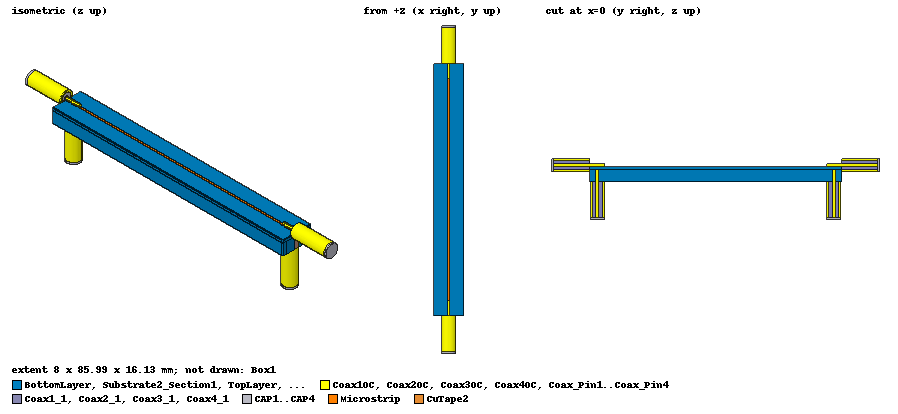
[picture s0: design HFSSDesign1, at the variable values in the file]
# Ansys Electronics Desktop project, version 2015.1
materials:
  vacuum: permittivity=1
  Teflon (tm): permittivity=2.1 dielectric_loss_tangent=0.001
  pec: conductivity=1e+30
  Rogers RT/duroid 5880 (tm): permittivity=2.2 dielectric_loss_tangent=0.0009
  copper: permeability=0.999991 conductivity=58000000
  PMLGroup1_Z_1: permittivity{anisotropic component1=23.722161 component2=23.722161 component3=0.10201431} permeability{anisotropic component1=10.782801 component2=10.782801 component3=0.046370142} dielectric_loss_tangent{anisotropic component1=1 component2=1 component3=-1} magnetic_loss_tangent{anisotropic component1=1 component2=1 component3=-1}
  PMLGroup2_Z_1: permittivity{anisotropic component1=5.9836856 component2=5.9836856 component3=0.08356054} permeability{anisotropic component1=5.9836856 component2=5.9836856 component3=0.08356054} dielectric_loss_tangent{anisotropic component1=1 component2=1 component3=-1} magnetic_loss_tangent{anisotropic component1=1 component2=1 component3=-1}
  PMLGroup2_XZ_1: permittivity{anisotropic component1=1 component2=0.01 component3=1} permeability{anisotropic component1=1 component2=0.01 component3=1} dielectric_loss_tangent{anisotropic component1=0 component2=7160.8987 component3=0} magnetic_loss_tangent{anisotropic component1=0 component2=7160.8987 component3=0}
  PMLGroup2_YZ_1: permittivity{anisotropic component1=0.01 component2=1 component3=1} permeability{anisotropic component1=0.01 component2=1 component3=1} dielectric_loss_tangent{anisotropic component1=7160.8987 component2=0 component3=0} magnetic_loss_tangent{anisotropic component1=7160.8987 component2=0 component3=0}
  PMLGroup2_XYZ_1: permittivity{anisotropic component1=5.9836856 component2=5.9836856 component3=5.9836856} permeability{anisotropic component1=5.9836856 component2=5.9836856 component3=5.9836856} dielectric_loss_tangent{anisotropic component1=1 component2=1 component3=1} magnetic_loss_tangent{anisotropic component1=1 component2=1 component3=1}
  PMLGroup3_Z_1: permittivity{anisotropic component1=23.722161 component2=23.722161 component3=0.10201431} permeability{anisotropic component1=10.782801 component2=10.782801 component3=0.046370142} dielectric_loss_tangent{anisotropic component1=1 component2=1 component3=-1} magnetic_loss_tangent{anisotropic component1=1 component2=1 component3=-1}

design HFSSDesign1 (HFSS, DrivenModal, model units mm)
options: Allow_Material_Override
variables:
  length = 9.52mm
  radius = (2.5447/2) mm
  pinradius = (.76/2) mm
  topthick = 0.787mm
  linelength = 29mm
  linelength2 = 71mm
  end = 39.945mm
  linelength3 = 1.55*lambda
  pinlength = length + 3.81mm
  bottomthick = -3.175mm
  bottom = 0 - topthick - pinradius + bottomthick
  msthick = 2mm
  lambda = 42.5516mm
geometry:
  Coax1 = cylinder(axis=Y, base_centre=(0mm, -linelength3/2 - length, 0mm), radius=radius, height=length)
  Coax_Pin1 [pec] = cylinder(axis=Y, base_centre=(0mm, -linelength3/2 - length, 0mm), radius=pinradius, height=pinlength)
  TopLayer [Rogers RT/duroid 5880 (tm)] = box(corner=(-4mm, -linelength3/2, -1*topthick - 1*pinradius), size=(8mm, linelength3, topthick))
  Substrate_Section2 [Rogers RT/duroid 5880 (tm)] = TopLayer.section(plane=YZ)
  Substrate_Section2.thicken(msthick/4, both sides)
  Microstrip [Rogers RT/duroid 5880 (tm)] = object_from(Substrate_Section2.face(at (0, 0, -0.38)))
  Coax2 = cylinder(axis=Y, base_centre=(0mm, linelength3/2, 0mm), radius=radius, height=length)
  Coax_Pin2 [pec] = cylinder(axis=Y, base_centre=(0mm, linelength3/2 - (pinlength - length), 0mm), radius=pinradius, height=pinlength)
  BottomLayer [Rogers RT/duroid 5880 (tm)] = box(corner=(-4mm, -linelength3/2, bottom), size=(8mm, linelength3, -bottomthick))
  GND [Rogers RT/duroid 5880 (tm)] = object_from(BottomLayer.face(-z))
  Substrate2_Section1 [Rogers RT/duroid 5880 (tm)] = BottomLayer.section(plane=YZ)
  Substrate2_Section1.thicken(6mm, both sides)
  Circle1 = circle(normal=Z, centre=(0, -linelength3/2 + 2, 0 - topthick - pinradius + bottomthick), radius=radius)
  Coax3 = cylinder(axis=Z, base_centre=(0mm, -linelength3/2 + 2mm, 0 - topthick - pinradius + bottomthick - length), radius=radius, height=length)
  Coax_Pin3 [pec] = cylinder(axis=Z, base_centre=(0mm, -linelength3/2 + 2mm, 0 - pinradius - topthick), radius=pinradius, height=-length + bottomthick)
  Circle2 = circle(normal=Z, centre=(0mm, linelength3/2 - 2, 0 - topthick - pinradius + bottomthick), radius=radius)
  Coax4 = cylinder(axis=Z, base_centre=(0mm, linelength3/2 - 2mm, 0 - topthick - pinradius + bottomthick - length), radius=radius, height=length)
  Coax_Pin4 [pec] = cylinder(axis=Z, base_centre=(0mm, linelength3/2 - 2mm, 0 - topthick - pinradius), radius=pinradius, height=-length + bottomthick)
  BottomMS = rectangle(corner=(-3mm, -linelength3/2 + 0.5mm, 0 - topthick - pinradius), x_size=6mm, y_size=linelength3 - 1mm)
  GND.subtract(Circle1)
  GND.subtract(Circle2)
  Coax1OC [pec] = cylinder(axis=Y, base_centre=(0mm, -linelength3/2 - length, 0mm), radius=radius+0.5mm, height=length)
  Coax2OC [pec] = cylinder(axis=Y, base_centre=(0mm, linelength3/2, 0mm), radius=radius + 0.5mm, height=length)
  Coax3OC [pec] = cylinder(axis=Z, base_centre=(0mm, -linelength3/2 + 2mm, 0 - topthick - pinradius + bottomthick - length), radius=radius + 0.5mm, height=length)
  Coax4OC [pec] = cylinder(axis=Z, base_centre=(0mm, linelength3/2 - 2mm, 0 - topthick - pinradius + bottomthick - length), radius=radius + 0.5mm, height=length)
  Coax1OC.subtract(Coax1)
  Coax1_1 [Teflon (tm)] = cylinder(axis=Y, base_centre=(0mm, -linelength3/2 - length, 0mm), radius=radius, height=length)
  Coax2OC.subtract(Coax2)
  Coax2_1 [Teflon (tm)] = cylinder(axis=Y, base_centre=(0mm, linelength3/2, 0mm), radius=radius, height=length)
  Coax3OC.subtract(Coax3)
  Coax3_1 [Teflon (tm)] = cylinder(axis=Z, base_centre=(0mm, -linelength3/2 + 2mm, 0 - topthick - pinradius + bottomthick - length), radius=radius, height=length)
  Coax4OC.subtract(Coax4)
  Coax4_1 [Teflon (tm)] = cylinder(axis=Z, base_centre=(0mm, linelength3/2 - 2mm, 0 - topthick - pinradius + bottomthick - length), radius=radius, height=length)
  Circle3 = circle(normal=Z, centre=(0mm, - linelength3/2 + 2mm, 0 - topthick - pinradius + bottomthick), radius=radius)
  GND.subtract(Circle3)
  Circle4 = circle(normal=Z, centre=(0mm, linelength3/2 - 2mm, 0 - topthick - pinradius + bottomthick), radius=radius)
  GND.subtract(Circle4)
  Circle5 = circle(normal=Y, centre=(0mm, -linelength3/2 - length, 0mm), radius=radius + 0.5mm)
  Circle6 = circle(normal=Y, centre=(0mm, linelength3/2 + length, 0mm), radius=radius + 0.5mm)
  Circle7 = circle(normal=Z, centre=(0mm, -linelength3/2 + 2mm, 0 - topthick - pinradius + bottomthick - length), radius=radius + 0.5mm)
  Circle8 = circle(normal=Z, centre=(0mm, linelength3/2 - 2mm, 0 - pinradius - topthick + bottomthick - length), radius=radius + 0.5mm)
  Box1 [vacuum] = box(corner=(-4mm - lambda/4, -linelength3/2 - length - 0.5mm - lambda/4, bottom - length - lambda/4 - 0.5mm), size=(8mm + lambda/2, linelength3 + 2*length + lambda/2 + 1mm, length - bottom + radius + 0.5mm + lambda/2))
  CAP1 [pec] = cylinder(axis=Y, base_centre=(0mm, -linelength3/2 - length, 0mm), radius=radius + 0.5mm, height=-0.5mm)
  CAP2 [pec] = cylinder(axis=Y, base_centre=(0mm, linelength3/2 + length, 0mm), radius=radius+0.5mm, height=0.5mm)
  CAP3 [pec] = cylinder(axis=Z, base_centre=(0mm, -linelength3/2 + 2mm, 0 - pinradius - topthick + bottomthick - length), radius=radius + 0.5mm, height=-0.5mm)
  CAP4 [pec] = cylinder(axis=Z, base_centre=(0mm, linelength3/2 - 2mm, 0 - pinradius - topthick + bottomthick - length), radius=radius + 0.5mm, height=-0.5mm)
  CuTape1 = rectangle(corner=(-radius/2, -linelength3/2, 0 - pinradius - topthick + bottomthick), z_size=-bottomthick - pinradius, x_size=radius)
  Rectangle2 = rectangle(corner=(-radius/2, -linelength3/2, 0 - pinradius - topthick + bottomthick), x_size=radius, y_size=0.5mm)
  CuTape1.unite(Rectangle2)
  CuTape2 = rectangle(corner=(-radius/2, linelength3/2, 0 - pinradius - topthick + bottomthick), z_size=-bottomthick - pinradius, x_size=radius)
  Rectangle4 = rectangle(corner=(-radius/2, linelength3/2, 0 - topthick - pinradius + bottomthick), x_size=radius, y_size=-0.5mm)
  CuTape2.unite(Rectangle4)
  CuTape1_1 = CuTape1.copy()
  GND.subtract(CuTape1_1)
  CuTape2_1 = CuTape2.copy()
  GND.subtract(CuTape2_1)
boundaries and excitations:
  GNDPFE: Perfect E Objects=GND
  BMSPE: Perfect E Faces=BottomMS.face
  TMSPE: Perfect E Faces=Microstrip.face
  Rad1: Radiation Objects=Box1
  PerfE1: Perfect E Objects=CuTape1
  PerfE2: Perfect E Objects=CuTape2
  1: Wave Port Objects=Circle5 NumModes=1 Modes{Mode1{IntLine{Circle5.vertex(1 of 1) -> centre of Circle5.face} CharImp=Zpi}}
  2: Wave Port Objects=Circle7 NumModes=1 Modes{Mode1{CharImp=Zpi}}
  3: Wave Port Objects=Circle6 NumModes=1 Modes{Mode1{CharImp=Zpi}}
  4: Wave Port Objects=Circle8 NumModes=1 Modes{Mode1{IntLine{Circle8.vertex(1 of 1) -> centre of Circle8.face} CharImp=Zpi}}
  reference conductors: Coax4OC
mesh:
  initial mesh: GlobalSurfApproximation{SurfDevChoice=0 NormalDevChoice=1 AspectRatioChoice=1 SetFacePreservationLevel=0}
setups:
  Setup1: HfssDriven Frequency=4.75GHz MaxDeltaS=0.02 MaximumPasses=10 MinimumPasses=1 MinimumConvergedPasses=1 PercentRefinement=30 BasisOrder=1 PortAccuracy=2
    sweep Sweep: 3GHz to 6.5GHz step 0.1GHz; Type=Interpolating InterpTolerance=0.5 InterpMaxSolns=250 InterpUsePortImped=false InterpUsePropConst=false PassivityErrorTolerance=0.0001
  Setup2: HfssDriven Frequency=6GHz PortsOnly MaxDeltaS=0.02 MaximumPasses=0 MinimumPasses=1 MinimumConvergedPasses=1 PercentRefinement=30 BasisOrder=1 PortAccuracy=2
    sweep Sweep: 2GHz to 10GHz step 0.1GHz; Type=Interpolating InterpTolerance=0.5 InterpMaxSolns=250 InterpUseS=false
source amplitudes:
  1:1: 1W 0deg
  2:1, 3:1, 4:1: 0W 0deg
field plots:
  Mag_E1: E Field in Coax1_1 on Setup1 : LastAdaptive at Freq=4.75GHz Phase=0deg
  Mag_Jsurf1: Jsurf over Microstrip.face on Setup1 : LastAdaptive at Freq=4.75GHz Phase=0deg
  Mag_Jsurf2: Jsurf over BottomMS.face on Setup1 : LastAdaptive at Freq=4.75GHz Phase=0deg
  Mag_E2: E Field in Coax2_1 on Setup1 : LastAdaptive at Freq=4.75GHz Phase=0deg
  Mag_E3: E Field in Coax3_1 on Setup1 : LastAdaptive at Freq=4.75GHz Phase=0deg
  Mag_E4: E Field in Coax4_1 on Setup1 : LastAdaptive at Freq=4.75GHz Phase=0deg
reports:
  Thru S-Parameters: dB(S(1,1)), dB(S(2,1)), dB(S(3,3)), dB(S(4,3)), dB(S(3,1)), dB(S(4,2)) vs Freq on Setup1 : Sweep
  Port Zo: re(Zo(1)), re(Zo(2)), re(Zo(3)), re(Zo(4)) vs Freq on Setup1 : Sweep
  Data Table 1: re(S(1,1)), re(S(1,2)), re(S(1,3)), re(S(1,4)), re(S(2,1)), re(S(2,2)), re(S(2,3)), re(S(2,4)), re(S(3,1)), re(S(3,2)), re(S(3,3)), re(S(3,4)), re(S(4,1)), re(S(4,2)), re(S(4,3)), re(S(4,4)) vs Freq on Setup1 : Sweep
  Data Table 2: im(S(1,1)), im(S(1,2)), im(S(1,3)), im(S(1,4)), im(S(2,1)), im(S(2,2)), im(S(2,3)), im(S(2,4)), im(S(3,1)), im(S(3,2)), im(S(3,3)), im(S(3,4)), im(S(4,1)), im(S(4,2)), im(S(4,3)), im(S(4,4)) vs Freq on Setup1 : Sweep
  Data Table 3: rect(S(1,1)) vs Freq on Setup1 : Sweep
  Data Table 4: polar(S(1,1)) vs Freq on Setup1 : Sweep
  Data Table 5: ang_rad(S(1,1)) vs Freq on Setup1 : Sweep
  Data Table 6: dB(S(1,1)) vs Freq on Setup1 : Sweep
